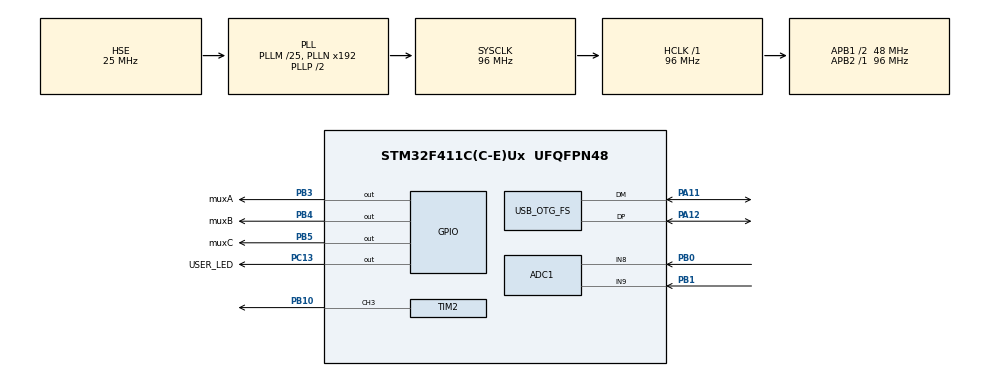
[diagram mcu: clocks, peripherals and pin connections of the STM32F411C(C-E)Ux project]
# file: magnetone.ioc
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ADC1.Channel-1\#ChannelRegularConversion=ADC_CHANNEL_8
ADC1.Channel-2\#ChannelRegularConversion=ADC_CHANNEL_9
ADC1.EOCSelection=ADC_EOC_SEQ_CONV
ADC1.ExternalTrigConv=ADC_SOFTWARE_START
ADC1.NbrOfConversion=2
ADC1.NbrOfConversionFlag=1
ADC1.Rank-1\#ChannelRegularConversion=1
ADC1.Rank-2\#ChannelRegularConversion=2
ADC1.SamplingTime-1\#ChannelRegularConversion=ADC_SAMPLETIME_15CYCLES
ADC1.SamplingTime-2\#ChannelRegularConversion=ADC_SAMPLETIME_15CYCLES
ADC1.master=1
Dma.ADC1.1.Direction=DMA_PERIPH_TO_MEMORY
Dma.ADC1.1.FIFOMode=DMA_FIFOMODE_DISABLE
Dma.ADC1.1.Instance=DMA2_Stream0
Dma.ADC1.1.MemDataAlignment=DMA_MDATAALIGN_WORD
Dma.ADC1.1.MemInc=DMA_MINC_ENABLE
Dma.ADC1.1.Mode=DMA_NORMAL
Dma.ADC1.1.PeriphDataAlignment=DMA_PDATAALIGN_WORD
Dma.ADC1.1.PeriphInc=DMA_PINC_DISABLE
Dma.ADC1.1.Priority=DMA_PRIORITY_LOW
Dma.Request0=TIM2_CH3/UP
Dma.Request1=ADC1
Dma.TIM2_CH3/UP.0.Direction=DMA_MEMORY_TO_PERIPH
Dma.TIM2_CH3/UP.0.FIFOMode=DMA_FIFOMODE_DISABLE
Dma.TIM2_CH3/UP.0.Instance=DMA1_Stream1
Dma.TIM2_CH3/UP.0.MemDataAlignment=DMA_MDATAALIGN_WORD
Dma.TIM2_CH3/UP.0.MemInc=DMA_MINC_ENABLE
Dma.TIM2_CH3/UP.0.Mode=DMA_NORMAL
Dma.TIM2_CH3/UP.0.PeriphDataAlignment=DMA_PDATAALIGN_WORD
Dma.TIM2_CH3/UP.0.PeriphInc=DMA_PINC_DISABLE
Dma.TIM2_CH3/UP.0.Priority=DMA_PRIORITY_LOW
Mcu.Family=STM32F4
Mcu.Name=STM32F411C(C-E)Ux
Mcu.Package=UFQFPN48
NVIC.ADC_IRQn=true\:0\:0\:false\:false\:true\:true\:true\:true
NVIC.DMA1_Stream1_IRQn=true\:0\:0\:false\:false\:true\:false\:true\:true
NVIC.DMA2_Stream0_IRQn=true\:0\:0\:false\:false\:true\:false\:true\:true
NVIC.OTG_FS_IRQn=true\:0\:0\:false\:false\:true\:false\:true\:true
NVIC.PriorityGroup=NVIC_PRIORITYGROUP_4
NVIC.TIM2_IRQn=true\:0\:0\:false\:false\:true\:true\:true\:true
NVIC.TIM4_IRQn=true\:0\:0\:false\:false\:true\:true\:true\:true
NVIC.TIM5_IRQn=true\:0\:0\:false\:false\:true\:true\:true\:true
PA11.Mode=Device_Only
PA11.Signal=USB_OTG_FS_DM
PA12.Mode=Device_Only
PA12.Signal=USB_OTG_FS_DP
PA13.Mode=Serial_Wire
PA13.Signal=SYS_JTMS-SWDIO
PA14.Mode=Serial_Wire
PA14.Signal=SYS_JTCK-SWCLK
PB0.Signal=ADCx_IN8
PB1.Signal=ADCx_IN9
PB10.Signal=S_TIM2_CH3
PB3.GPIO_Label=muxA
PB3.Signal=GPIO_Output
PB4.GPIO_Label=muxB
PB4.Signal=GPIO_Output
PB5.GPIO_Label=muxC
PB5.Signal=GPIO_Output
PC13-ANTI_TAMP.GPIO_Label=USER_LED
PC13-ANTI_TAMP.Signal=GPIO_Output
PH0\ -\ OSC_IN.Mode=HSE-External-Oscillator
PH0\ -\ OSC_IN.Signal=RCC_OSC_IN
PH1\ -\ OSC_OUT.Mode=HSE-External-Oscillator
PH1\ -\ OSC_OUT.Signal=RCC_OSC_OUT
ProjectManager.HeapSize=0x200
ProjectManager.StackSize=0x400
ProjectManager.TargetToolchain=STM32CubeIDE
RCC.48MHZClocksFreq_Value=48000000
RCC.AHBFreq_Value=96000000
RCC.APB1CLKDivider=RCC_HCLK_DIV2
RCC.APB1Freq_Value=48000000
RCC.APB1TimFreq_Value=96000000
RCC.APB2Freq_Value=96000000
RCC.APB2TimFreq_Value=96000000
RCC.CortexFreq_Value=96000000
RCC.HCLKFreq_Value=96000000
RCC.HSE_VALUE=25000000
RCC.HSI_VALUE=16000000
RCC.LSE_VALUE=32768
RCC.PLLM=25
RCC.SYSCLKFreq_VALUE=96000000
RCC.SYSCLKSource=RCC_SYSCLKSOURCE_PLLCLK
RCC.VCOOutputFreq_Value=192000000
SH.ADCx_IN8.0=ADC1_IN8,IN8
SH.ADCx_IN9.0=ADC1_IN9,IN9
SH.S_TIM2_CH3.0=TIM2_CH3,PWM Generation3 CH3
TIM2.AutoReloadPreload=TIM_AUTORELOAD_PRELOAD_DISABLE
TIM2.Channel-PWM\ Generation3\ CH3=TIM_CHANNEL_3
TIM2.Period=120-1
TIM4.Period=5000-1
TIM4.Prescaler=96-1
TIM5.Period=100000-1
TIM5.Prescaler=96-1
USB_DEVICE.CLASS_NAME_FS=HID
USB_DEVICE.USBD_SELF_POWERED=0
USB_DEVICE.VirtualMode=Hid
USB_DEVICE.VirtualModeFS=Hid_FS
USB_OTG_FS.VirtualMode=Device_Only
VP_TIM2_VS_ClockSourceINT.Mode=Internal
VP_TIM4_VS_ClockSourceINT.Mode=Internal
VP_TIM5_VS_ClockSourceINT.Mode=Internal
VP_USB_DEVICE_VS_USB_DEVICE_HID_FS.Mode=HID_FS
board=custom

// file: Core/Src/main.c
/* USER CODE BEGIN Header */
/**
  ******************************************************************************
  * @file           : main.c
  * @brief          : Main program body
  ******************************************************************************
  * @attention
  *
  * Copyright (c) 2025 STMicroelectronics.
  * All rights reserved.
  *
  * This software is licensed under terms that can be found in the LICENSE file
  * in the root directory of this software component.
  * If no LICENSE file comes with this software, it is provided AS-IS.
  *
  ******************************************************************************
  */
/* USER CODE END Header */
#include "main.h"
#include "usb_device.h"

/* USER CODE BEGIN Includes */

#include "midi.h"

#include "sk6812MiniE.h"
#include "note.h"

/* USER CODE END Includes */

ADC_HandleTypeDef hadc1;
DMA_HandleTypeDef hdma_adc1;

TIM_HandleTypeDef htim2;
TIM_HandleTypeDef htim4;
TIM_HandleTypeDef htim5;
DMA_HandleTypeDef hdma_tim2_ch3_up;

/* USER CODE BEGIN PV */
volatile uint8_t SK6812_TIM_FLAG = 0;

const int selectPins[3] = {muxA_Pin, muxB_Pin, muxC_Pin};

/* USER CODE END PV */

void SystemClock_Config(void);
static void MX_GPIO_Init(void);
static void MX_DMA_Init(void);
static void MX_TIM2_Init(void);
static void MX_ADC1_Init(void);
static void MX_TIM4_Init(void);
static void MX_TIM5_Init(void);
/* USER CODE BEGIN PFP */
void HAL_TIM_PWM_PulseFinishedCallback(TIM_HandleTypeDef *htim)
{
	if(htim->Instance == TIM2)
	{
		  SK6812_Callback();
	}
}

void HAL_TIM_PeriodElapsedCallback(TIM_HandleTypeDef *htim)
{
	if(htim->Instance == TIM4)
	{
		//start adc readings
		keyCount = 0;
		selectMuxPin(0);
		HAL_ADC_Start_DMA(&hadc1,&keyData[0], 2);
	}
	if(htim->Instance == TIM5)
	{
		SK6812_TIM_FLAG = 1;
	}
}

void HAL_ADC_ConvCpltCallback(ADC_HandleTypeDef* hadc)
{

	if(keyCount >= (numHalfKeys - 1))
	{

//		dump the values
		for(uint8_t i = 0; i < numHalfKeys ; i++)
		{
			noteArray[i].rawVal = (uint16_t)keyData[i * 2];
			noteArray[i + numHalfKeys].rawVal = (uint16_t)keyData[i * 2 + 1];
		}
		//set complete flag
		ADC_COMPLETE_FLAG = 1;
	}
	else
	{
		//store values
//		noteArray[keyCount].rawVal = (uint16_t)keyData[keyCount * 2];
//		noteArray[keyCount + numHalfKeys].rawVal = (uint16_t)keyData[keyCount * 2 + 1];

		keyCount++;
		selectMuxPin(keyCount);
		HAL_ADC_Start_DMA(&hadc1, &keyData[keyCount * 2], 2);
	}

}

/* USER CODE END PFP */

int main(void)
{

  /* MCU Configuration--------------------------------------------------------*/

  /* Reset of all peripherals, Initializes the Flash interface and the Systick. */
  HAL_Init();

  /* USER CODE BEGIN Init */

  midiInit();

  /* USER CODE END Init */

  /* Configure the system clock */
  SystemClock_Config();

  /* Initialize all configured peripherals */
  MX_GPIO_Init();
  MX_DMA_Init();
  MX_TIM2_Init();
  MX_ADC1_Init();
  MX_TIM4_Init();
  MX_USB_DEVICE_Init();
  MX_TIM5_Init();
  /* USER CODE BEGIN 2 */

  keyCount = 0;
  ADC_COMPLETE_FLAG = 0;

//  HAL_ADC_Start_DMA(&hadc1, (uint32_t *)&keyData[keyCount * 2], 2);

  SK6812_Init();

  noteInit();

  //start keyupdate timer
  HAL_TIM_Base_Start_IT(&htim4);

//start led timer
//  HAL_TIM_Base_Start_IT(&htim5);

  /* USER CODE END 2 */

  /* Infinite loop */
  /* USER CODE BEGIN WHILE */
  while (1)
  {

	  if(ADC_COMPLETE_FLAG == 1)
	  {
		  ADC_COMPLETE_FLAG = 0;

		  noteScan();
		  if(txPtrIn != 0)
		  {
			  MidiSend();
		  }

		  if(SK6812_UPDATE_READY == 1)
		  {
//			  SK6812_TIM_FLAG = 0;
			  SK6812_Update();
		  }

	  }

/*	  if(SK6812_UPDATE_READY == 1 && SK6812_TIM_FLAG == 1)
	  {
		  SK6812_TIM_FLAG = 0;
		  SK6812_Update();
	  }*/

//	  while( ((USBD_HandleTypeDef*)hUsbDeviceFS.pClassData)->dev_state == USBD_HID_BUSY){}
//
//
//	  USBD_HID_SendReport(&hUsbDeviceFS, &midiNoteOn, 4);
//	  HAL_Delay(200);
//
//
//	  while( ((USBD_HandleTypeDef*)hUsbDeviceFS.pClassData)->dev_state == USBD_HID_BUSY){}
//
//	  USBD_HID_SendReport(&hUsbDeviceFS, &midiNoteOff, 4);
//	  HAL_Delay(200);

//	  MidiNoteOn(55, 120);
//
//	  	  HAL_Delay(200);
//
//		  MidiNoteOff(55, 120);
//
//	  	  HAL_Delay(200);

//	  midiNoteOn[2]  = 64;
//	  midiAddMsg(midiNoteOn,4);
//
//	  midiNoteOn[2]  = 78;
//	  midiAddMsg(midiNoteOn,4);
//
//	  midiNoteOn[2]  = 57;
//	  midiAddMsg(midiNoteOn,4);
//
//	  midiNoteOn[2]  = 85;
//	  midiAddMsg(midiNoteOn,4);

//	  MidiNoteOn(50,127);
//	  MidiNoteOn(57,90);
//	  MidiNoteOn(64,80);
//	  MidiNoteOn(71,50);
//
//
//	  MidiSend();
//
//
//
//  	  HAL_Delay(80);
//
//	  MidiNoteOff(50,127);
//	  MidiNoteOff(57,90);
//	  MidiNoteOff(64,80);
//	  MidiNoteOff(71,50);
//
//	  MidiSend();
//
//	  HAL_Delay(80);

    /* USER CODE END WHILE */

  }
}

void SystemClock_Config(void)
{
  RCC_OscInitTypeDef RCC_OscInitStruct = {0};
  RCC_ClkInitTypeDef RCC_ClkInitStruct = {0};

  /** Configure the main internal regulator output voltage
  */
  __HAL_RCC_PWR_CLK_ENABLE();
  __HAL_PWR_VOLTAGESCALING_CONFIG(PWR_REGULATOR_VOLTAGE_SCALE1);

  /** Initializes the RCC Oscillators according to the specified parameters
  * in the RCC_OscInitTypeDef structure.
  */
  RCC_OscInitStruct.OscillatorType = RCC_OSCILLATORTYPE_HSE;
  RCC_OscInitStruct.HSEState = RCC_HSE_ON;
  RCC_OscInitStruct.PLL.PLLState = RCC_PLL_ON;
  RCC_OscInitStruct.PLL.PLLSource = RCC_PLLSOURCE_HSE;
  RCC_OscInitStruct.PLL.PLLM = 25;
  RCC_OscInitStruct.PLL.PLLN = 192;
  RCC_OscInitStruct.PLL.PLLP = RCC_PLLP_DIV2;
  RCC_OscInitStruct.PLL.PLLQ = 4;
  if (HAL_RCC_OscConfig(&RCC_OscInitStruct) != HAL_OK)
  {
    Error_Handler();
  }

  /** Initializes the CPU, AHB and APB buses clocks
  */
  RCC_ClkInitStruct.ClockType = RCC_CLOCKTYPE_HCLK|RCC_CLOCKTYPE_SYSCLK
                              |RCC_CLOCKTYPE_PCLK1|RCC_CLOCKTYPE_PCLK2;
  RCC_ClkInitStruct.SYSCLKSource = RCC_SYSCLKSOURCE_PLLCLK;
  RCC_ClkInitStruct.AHBCLKDivider = RCC_SYSCLK_DIV1;
  RCC_ClkInitStruct.APB1CLKDivider = RCC_HCLK_DIV2;
  RCC_ClkInitStruct.APB2CLKDivider = RCC_HCLK_DIV1;

  if (HAL_RCC_ClockConfig(&RCC_ClkInitStruct, FLASH_LATENCY_3) != HAL_OK)
  {
    Error_Handler();
  }
}

static void MX_ADC1_Init(void)
{

  ADC_ChannelConfTypeDef sConfig = {0};

  /** Configure the global features of the ADC (Clock, Resolution, Data Alignment and number of conversion)
  */
  hadc1.Instance = ADC1;
  hadc1.Init.ClockPrescaler = ADC_CLOCK_SYNC_PCLK_DIV4;
  hadc1.Init.Resolution = ADC_RESOLUTION_12B;
  hadc1.Init.ScanConvMode = ENABLE;
  hadc1.Init.ContinuousConvMode = DISABLE;
  hadc1.Init.DiscontinuousConvMode = DISABLE;
  hadc1.Init.ExternalTrigConvEdge = ADC_EXTERNALTRIGCONVEDGE_NONE;
  hadc1.Init.ExternalTrigConv = ADC_SOFTWARE_START;
  hadc1.Init.DataAlign = ADC_DATAALIGN_RIGHT;
  hadc1.Init.NbrOfConversion = 2;
  hadc1.Init.DMAContinuousRequests = DISABLE;
  hadc1.Init.EOCSelection = ADC_EOC_SEQ_CONV;
  if (HAL_ADC_Init(&hadc1) != HAL_OK)
  {
    Error_Handler();
  }

  /** Configure for the selected ADC regular channel its corresponding rank in the sequencer and its sample time.
  */
  sConfig.Channel = ADC_CHANNEL_8;
  sConfig.Rank = 1;
  sConfig.SamplingTime = ADC_SAMPLETIME_15CYCLES;
  if (HAL_ADC_ConfigChannel(&hadc1, &sConfig) != HAL_OK)
  {
    Error_Handler();
  }

  /** Configure for the selected ADC regular channel its corresponding rank in the sequencer and its sample time.
  */
  sConfig.Channel = ADC_CHANNEL_9;
  sConfig.Rank = 2;
  if (HAL_ADC_ConfigChannel(&hadc1, &sConfig) != HAL_OK)
  {
    Error_Handler();
  }

}

static void MX_TIM2_Init(void)
{

  TIM_ClockConfigTypeDef sClockSourceConfig = {0};
  TIM_MasterConfigTypeDef sMasterConfig = {0};
  TIM_OC_InitTypeDef sConfigOC = {0};

  htim2.Instance = TIM2;
  htim2.Init.Prescaler = 0;
  htim2.Init.CounterMode = TIM_COUNTERMODE_UP;
  htim2.Init.Period = 120-1;
  htim2.Init.ClockDivision = TIM_CLOCKDIVISION_DIV1;
  htim2.Init.AutoReloadPreload = TIM_AUTORELOAD_PRELOAD_DISABLE;
  if (HAL_TIM_Base_Init(&htim2) != HAL_OK)
  {
    Error_Handler();
  }
  sClockSourceConfig.ClockSource = TIM_CLOCKSOURCE_INTERNAL;
  if (HAL_TIM_ConfigClockSource(&htim2, &sClockSourceConfig) != HAL_OK)
  {
    Error_Handler();
  }
  if (HAL_TIM_PWM_Init(&htim2) != HAL_OK)
  {
    Error_Handler();
  }
  sMasterConfig.MasterOutputTrigger = TIM_TRGO_RESET;
  sMasterConfig.MasterSlaveMode = TIM_MASTERSLAVEMODE_DISABLE;
  if (HAL_TIMEx_MasterConfigSynchronization(&htim2, &sMasterConfig) != HAL_OK)
  {
    Error_Handler();
  }
  sConfigOC.OCMode = TIM_OCMODE_PWM1;
  sConfigOC.Pulse = 0;
  sConfigOC.OCPolarity = TIM_OCPOLARITY_HIGH;
  sConfigOC.OCFastMode = TIM_OCFAST_DISABLE;
  if (HAL_TIM_PWM_ConfigChannel(&htim2, &sConfigOC, TIM_CHANNEL_3) != HAL_OK)
  {
    Error_Handler();
  }
  HAL_TIM_MspPostInit(&htim2);

}

static void MX_TIM4_Init(void)
{

  TIM_ClockConfigTypeDef sClockSourceConfig = {0};
  TIM_MasterConfigTypeDef sMasterConfig = {0};

  htim4.Instance = TIM4;
  htim4.Init.Prescaler = 96-1;
  htim4.Init.CounterMode = TIM_COUNTERMODE_UP;
  htim4.Init.Period = 5000-1;
  htim4.Init.ClockDivision = TIM_CLOCKDIVISION_DIV1;
  htim4.Init.AutoReloadPreload = TIM_AUTORELOAD_PRELOAD_DISABLE;
  if (HAL_TIM_Base_Init(&htim4) != HAL_OK)
  {
    Error_Handler();
  }
  sClockSourceConfig.ClockSource = TIM_CLOCKSOURCE_INTERNAL;
  if (HAL_TIM_ConfigClockSource(&htim4, &sClockSourceConfig) != HAL_OK)
  {
    Error_Handler();
  }
  sMasterConfig.MasterOutputTrigger = TIM_TRGO_RESET;
  sMasterConfig.MasterSlaveMode = TIM_MASTERSLAVEMODE_DISABLE;
  if (HAL_TIMEx_MasterConfigSynchronization(&htim4, &sMasterConfig) != HAL_OK)
  {
    Error_Handler();
  }

}

static void MX_TIM5_Init(void)
{

  TIM_ClockConfigTypeDef sClockSourceConfig = {0};
  TIM_MasterConfigTypeDef sMasterConfig = {0};

  htim5.Instance = TIM5;
  htim5.Init.Prescaler = 96-1;
  htim5.Init.CounterMode = TIM_COUNTERMODE_UP;
  htim5.Init.Period = 100000-1;
  htim5.Init.ClockDivision = TIM_CLOCKDIVISION_DIV1;
  htim5.Init.AutoReloadPreload = TIM_AUTORELOAD_PRELOAD_DISABLE;
  if (HAL_TIM_Base_Init(&htim5) != HAL_OK)
  {
    Error_Handler();
  }
  sClockSourceConfig.ClockSource = TIM_CLOCKSOURCE_INTERNAL;
  if (HAL_TIM_ConfigClockSource(&htim5, &sClockSourceConfig) != HAL_OK)
  {
    Error_Handler();
  }
  sMasterConfig.MasterOutputTrigger = TIM_TRGO_RESET;
  sMasterConfig.MasterSlaveMode = TIM_MASTERSLAVEMODE_DISABLE;
  if (HAL_TIMEx_MasterConfigSynchronization(&htim5, &sMasterConfig) != HAL_OK)
  {
    Error_Handler();
  }

}

static void MX_DMA_Init(void)
{

  /* DMA controller clock enable */
  __HAL_RCC_DMA1_CLK_ENABLE();
  __HAL_RCC_DMA2_CLK_ENABLE();

  /* DMA interrupt init */
  /* DMA1_Stream1_IRQn interrupt configuration */
  HAL_NVIC_SetPriority(DMA1_Stream1_IRQn, 0, 0);
  HAL_NVIC_EnableIRQ(DMA1_Stream1_IRQn);
  /* DMA2_Stream0_IRQn interrupt configuration */
  HAL_NVIC_SetPriority(DMA2_Stream0_IRQn, 0, 0);
  HAL_NVIC_EnableIRQ(DMA2_Stream0_IRQn);

}

static void MX_GPIO_Init(void)
{
  GPIO_InitTypeDef GPIO_InitStruct = {0};

  /* GPIO Ports Clock Enable */
  __HAL_RCC_GPIOC_CLK_ENABLE();
  __HAL_RCC_GPIOH_CLK_ENABLE();
  __HAL_RCC_GPIOB_CLK_ENABLE();
  __HAL_RCC_GPIOA_CLK_ENABLE();

  /*Configure GPIO pin Output Level */
  HAL_GPIO_WritePin(USER_LED_GPIO_Port, USER_LED_Pin, GPIO_PIN_RESET);

  /*Configure GPIO pin Output Level */
  HAL_GPIO_WritePin(GPIOB, muxA_Pin|muxB_Pin|muxC_Pin, GPIO_PIN_RESET);

  /*Configure GPIO pin : USER_LED_Pin */
  GPIO_InitStruct.Pin = USER_LED_Pin;
  GPIO_InitStruct.Mode = GPIO_MODE_OUTPUT_PP;
  GPIO_InitStruct.Pull = GPIO_NOPULL;
  GPIO_InitStruct.Speed = GPIO_SPEED_FREQ_LOW;
  HAL_GPIO_Init(USER_LED_GPIO_Port, &GPIO_InitStruct);

  /*Configure GPIO pins : muxA_Pin muxB_Pin muxC_Pin */
  GPIO_InitStruct.Pin = muxA_Pin|muxB_Pin|muxC_Pin;
  GPIO_InitStruct.Mode = GPIO_MODE_OUTPUT_PP;
  GPIO_InitStruct.Pull = GPIO_NOPULL;
  GPIO_InitStruct.Speed = GPIO_SPEED_FREQ_LOW;
  HAL_GPIO_Init(GPIOB, &GPIO_InitStruct);

}

void Error_Handler(void)
{
  __disable_irq();
  while (1)
  {
  }
}
